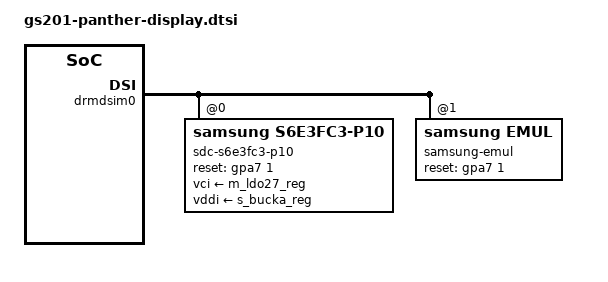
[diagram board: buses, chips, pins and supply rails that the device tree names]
// SPDX-License-Identifier: GPL-2.0-only
/*
 * Display nodes for slider-related boards.
 *
 * Copyright 2021 Google LLC
 *
 */

&drmdsim0 {
	sdc_s6e3fc3_p10: panel@0 {
		compatible = "samsung,s6e3fc3-p10";
		label = "sdc-s6e3fc3-p10";
		channel = <0>;

		/* reset, power */
		reset-gpios = <&gpa7 1 GPIO_ACTIVE_HIGH>;
		vci-supply = <&m_ldo27_reg>;
		vddi-supply = <&s_bucka_reg>;
		touch = <&spitouch>;
	};
	panel@1 {
		compatible = "samsung,emul";
		label = "samsung-emul";
		channel = <0>;

		/* reset, power */
		reset-gpios = <&gpa7 1 GPIO_ACTIVE_HIGH>;
	};
};

&dsim_modes {
	dsim-modes {
		1080x2400 {
			mode-name = "1080x2400";
			pmsk = <
				0x2 0xB3 0x2 0x5CAB /* p m s k */
				>;
			hs-clk = <1102>;
			esc-clk = <20>;
		};
	};
};


